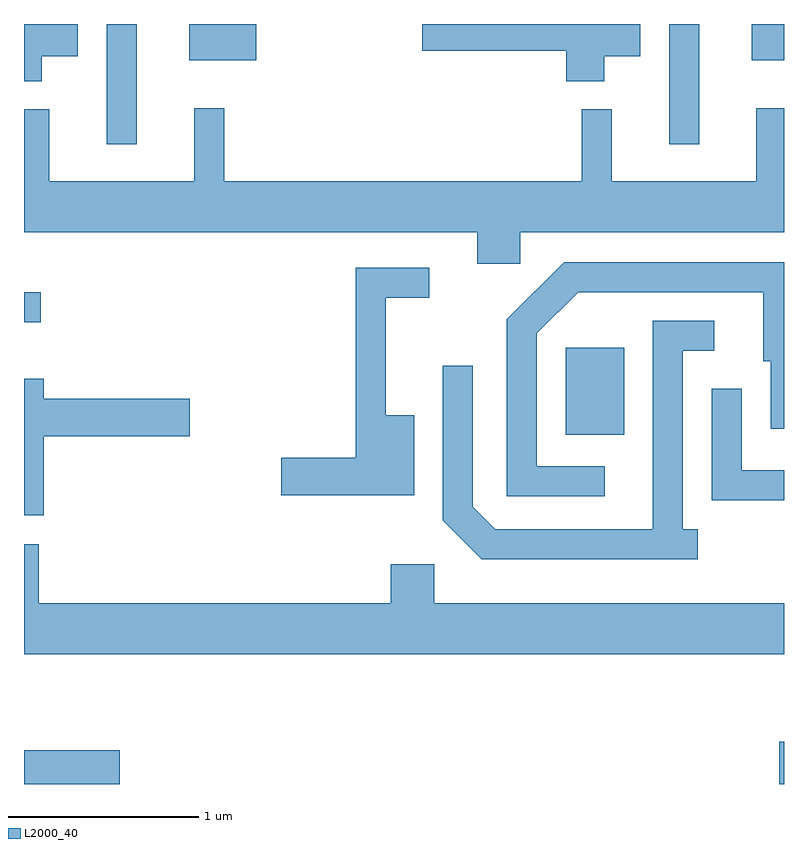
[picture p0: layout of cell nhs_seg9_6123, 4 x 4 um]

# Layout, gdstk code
import gdstk
lib = gdstk.Library(unit=1e-6, precision=1e-09)
def R(c, l, rs):  # rectangles x0, y0, x1, y1
    for r in rs: c.add(gdstk.rectangle(r[:2], r[2:], *l))
def P(c, l, *ps):  # polygons
    for p in ps: c.add(gdstk.Polygon(p, *l))
L2000_40 = (2000, 40)

nhs_seg9_6123 = lib.new_cell('nhs_seg9_6123')
R(nhs_seg9_6123, L2000_40, [(365.611,2024.432,366.114,2024.609), (369.586,2024.432,369.611,2024.654), (368.461,2026.271,368.769,2026.729), (365.611,2026.861,365.698,2027.019), (366.046,2027.798,366.204,2028.432), (369.006,2027.798,369.164,2028.432), (366.481,2028.241,366.834,2028.432), (369.441,2028.241,369.611,2028.432)])
P(nhs_seg9_6123, L2000_40, [(368.664,2028.261),(368.854,2028.261),(368.854,2028.432),(367.706,2028.432),(367.706,2028.291),(368.466,2028.291),(368.466,2028.131),(368.664,2028.131)],
  [(365.704,2028.261),(365.894,2028.261),(365.894,2028.432),(365.611,2028.432),(365.611,2028.131),(365.704,2028.131)],
  [(368.224,2027.336),(369.611,2027.336),(369.611,2027.988),(369.466,2027.988),(369.466,2027.604),(368.704,2027.604),(368.704,2027.983),(368.546,2027.983),(368.546,2027.604),(366.664,2027.604),(366.664,2027.988),(366.506,2027.988),(366.506,2027.604),(365.744,2027.604),(365.744,2027.983),(365.611,2027.983),(365.611,2027.336),(367.996,2027.336),(367.996,2027.171),(368.224,2027.171)],
  [(368.668,2026.104),(368.309,2026.104),(368.309,2026.804),(368.527,2027.021),(369.501,2027.021),(369.501,2026.656),(369.541,2026.656),(369.541,2026.301),(369.611,2026.301),(369.611,2027.179),(368.454,2027.179),(368.151,2026.877),(368.151,2025.946),(368.668,2025.946)],
  [(367.664,2026.374),(367.514,2026.374),(367.514,2026.991),(367.743,2026.991),(367.743,2027.149),(367.356,2027.149),(367.356,2026.149),(366.966,2026.149),(366.966,2025.951),(367.664,2025.951)],
  [(369.158,2025.774),(369.079,2025.774),(369.079,2026.711),(369.243,2026.711),(369.243,2026.869),(368.921,2026.869),(368.921,2025.774),(368.092,2025.774),(367.974,2025.892),(367.974,2026.633),(367.816,2026.633),(367.816,2025.819),(368.019,2025.616),(369.158,2025.616)],
  [(365.714,2026.261),(366.484,2026.261),(366.484,2026.459),(365.714,2026.459),(365.714,2026.564),(365.611,2026.564),(365.611,2025.846),(365.714,2025.846)],
  [(369.611,2026.084),(369.389,2026.084),(369.389,2026.513),(369.231,2026.513),(369.231,2025.926),(369.611,2025.926)],
  [(369.611,2025.384),(367.769,2025.384),(367.769,2025.589),(367.541,2025.589),(367.541,2025.384),(365.689,2025.384),(365.689,2025.694),(365.611,2025.694),(365.611,2025.116),(369.611,2025.116)])

lib.write_gds('nhs_seg9_6123.gds')
